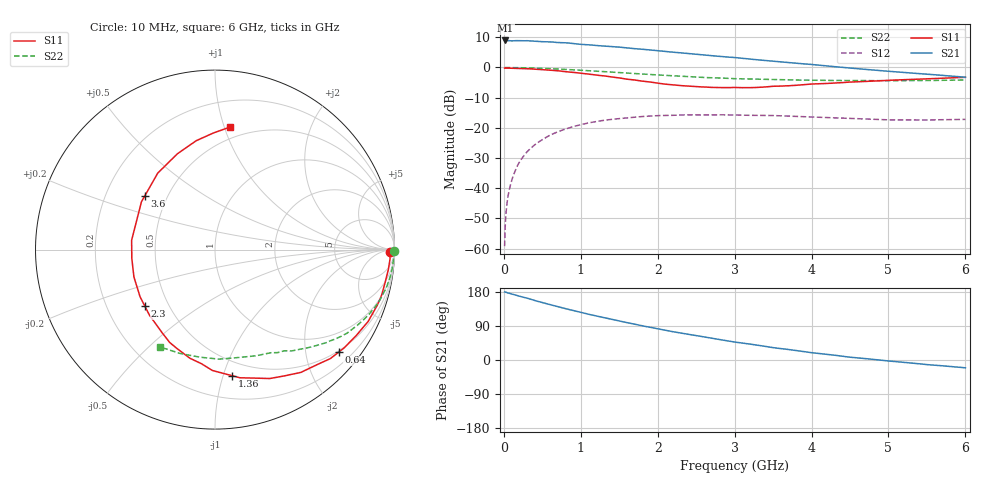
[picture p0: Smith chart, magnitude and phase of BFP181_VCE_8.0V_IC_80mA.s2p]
! Infineon Technologies  Discrete & RF Semiconductors
! BFP181
! VCE = 8.0 V,  IC =  80 mA
! Common Emitter S-Parameters:  Jan 2016
# GHz  S  MA  R  50
!  f  S11  S21  S12  S22
! GHz  MAG  ANG  MAG  ANG  MAG  ANG  MAG  ANG
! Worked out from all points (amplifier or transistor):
!   210 points, 10 MHz to 6 GHz, reference 50 ohm
!   highest |S21| = 9.0 dB at 20 MHz (marker M1)
!   |S21| within 3 dB of that: start of sweep to 1.838 GHz
!   unconditionally stable (mu >= 1): 3.423 GHz to end of sweep
!   at 185 MHz: K = 0.07, MSG = 20.5 dB, |S12| = -32.1 dB
!   at 1.52 GHz: K = 0.48, MSG = 11.8 dB, |S12| = -16.9 dB
!   at 6 GHz: K = 1.31, MAG = 3.6 dB, |S12| = -17.2 dB
!   S11 on the Smith chart (normalised r, x): 10 MHz: 62, -35; 640 MHz: 0.47, -2.70; 1.36 GHz: 0.38, -1.07; 2.3 GHz: 0.37, -0.31; 3.6 GHz: 0.37, +0.29; 6 GHz: 0.40, +1.05
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0.01  0.9759 -0.8  2.778 179.5  0.0011 84.2  0.9991 -0.3
0.015  0.9753 -1.1  2.791 179.4  0.0019 86.7  0.998 -0.4
0.02  0.9747 -1.4  2.804 179.4  0.0027 87.7  0.9969 -0.6
0.04  0.9759 -2.5  2.799 177.9  0.0055 89.0  0.9967 -1.2
0.065  0.975 -4.0  2.785 176.3  0.0088 87.8  0.9964 -1.9
0.12  0.9703 -7.6  2.77 173.2  0.0159 84.5  0.9953 -3.6
0.185  0.9646 -11.6  2.779 169.4  0.0248 81.5  0.9933 -5.5
0.38  0.9443 -23.9  2.742 158.3  0.0497 73.4  0.9807 -11.4
0.64  0.8951 -39.7  2.633 144.1  0.0799 62.9  0.9523 -18.7
0.8  0.8532 -49.3  2.575 135.5  0.0956 56.8  0.9307 -22.8
1.02  0.7985 -62.2  2.41 124.8  0.1145 48.9  0.8976 -28.1
1.1  0.7804 -67.0  2.386 120.7  0.1209 46.3  0.8852 -29.9
1.36  0.7088 -82.4  2.232 109.1  0.1364 38.0  0.8441 -35.5
1.5  0.6733 -91.3  2.179 102.8  0.1427 34.2  0.8209 -38.1
2.02  0.5461 -123.2  1.888 81.6  0.1599 21.8  0.7516 -46.7
2.3  0.5017 -141.3  1.745 71.2  0.1629 15.9  0.718 -51.3
2.8  0.4661 -174.0  1.53 54.0  0.1653 7.5  0.6723 -58.6
3.1  0.4634 168.2  1.419 44.8  0.1623 3.6  0.6485 -63.1
3.6  0.4923 142.7  1.241 30.2  0.1584 -1.8  0.6288 -70.8
4.1  0.5374 123.6  1.091 17.2  0.1503 -5.6  0.6129 -79.9
5.1  0.6212 97.9  0.846 -4.3  0.1357 -6.8  0.6046 -100.1
6  0.6889 82.9  0.691 -20.6  0.1383 -3.1  0.6227 -119.3
